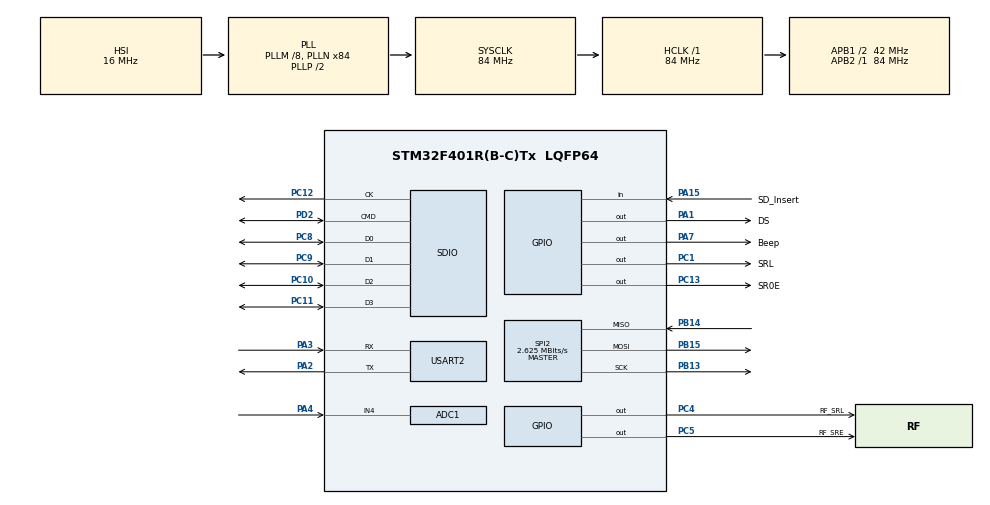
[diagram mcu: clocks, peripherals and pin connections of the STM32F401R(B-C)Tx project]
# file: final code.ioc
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ADC1.Channel-2\#ChannelRegularConversion=ADC_CHANNEL_4
ADC1.NbrOfConversionFlag=1
ADC1.Rank-2\#ChannelRegularConversion=1
ADC1.SamplingTime-2\#ChannelRegularConversion=ADC_SAMPLETIME_3CYCLES
ADC1.master=1
FATFS.BSP.number=1
FATFS._MAX_SS=4096
FATFS._USE_FASTSEEK=0
FATFS0.BSP.STBoard=false
FATFS0.BSP.api=Unknown
FATFS0.BSP.i2caddr=0
FATFS0.BSP.instance=PA15
FATFS0.BSP.ip=GPIO
FATFS0.BSP.mode=Input
FATFS0.BSP.name=Detect_SDIO
FATFS0.BSP.solution=PA15
Mcu.Family=STM32F4
Mcu.Name=STM32F401R(B-C)Tx
Mcu.Package=LQFP64
NVIC.ADC_IRQn=true\:0\:0\:false\:false\:true\:true\:true\:true
NVIC.PriorityGroup=NVIC_PRIORITYGROUP_4
NVIC.TIM3_IRQn=true\:0\:0\:false\:false\:true\:true\:true\:true
NVIC.TIM4_IRQn=true\:0\:0\:false\:false\:true\:true\:true\:true
PA1.GPIO_Label=DS
PA1.Signal=GPIO_Output
PA13.Mode=Trace_Asynchronous_SW
PA13.Signal=SYS_JTMS-SWDIO
PA14.Mode=Trace_Asynchronous_SW
PA14.Signal=SYS_JTCK-SWCLK
PA15.GPIO_Label=SD_Insert
PA15.Signal=GPIO_Input
PA2.Mode=Asynchronous
PA2.Signal=USART2_TX
PA3.Mode=Asynchronous
PA3.Signal=USART2_RX
PA4.Signal=ADCx_IN4
PA7.GPIO_Label=Beep
PA7.Signal=GPIO_Output
PB13.Mode=Full_Duplex_Master
PB13.Signal=SPI2_SCK
PB14.Mode=Full_Duplex_Master
PB14.Signal=SPI2_MISO
PB15.Mode=Full_Duplex_Master
PB15.Signal=SPI2_MOSI
PB3.Mode=Trace_Asynchronous_SW
PB3.Signal=SYS_JTDO-SWO
PC1.GPIO_Label=SRL
PC1.Signal=GPIO_Output
PC10.Mode=SD_4_bits_Wide_bus
PC10.Signal=SDIO_D2
PC11.Mode=SD_4_bits_Wide_bus
PC11.Signal=SDIO_D3
PC12.Mode=SD_4_bits_Wide_bus
PC12.Signal=SDIO_CK
PC13-ANTI_TAMP.GPIO_Label=SR0E
PC13-ANTI_TAMP.Signal=GPIO_Output
PC4.GPIO_Label=RF_SRL
PC4.Signal=GPIO_Output
PC5.GPIO_Label=RF_SRE
PC5.Signal=GPIO_Output
PC8.Mode=SD_4_bits_Wide_bus
PC8.Signal=SDIO_D0
PC9.Mode=SD_4_bits_Wide_bus
PC9.Signal=SDIO_D1
PD2.Mode=SD_4_bits_Wide_bus
PD2.Signal=SDIO_CMD
PH0\ -\ OSC_IN.Mode=HSE-External-Oscillator
PH0\ -\ OSC_IN.Signal=RCC_OSC_IN
PH1\ -\ OSC_OUT.Mode=HSE-External-Oscillator
PH1\ -\ OSC_OUT.Signal=RCC_OSC_OUT
ProjectManager.HeapSize=0x200
ProjectManager.StackSize=0x400
ProjectManager.TargetToolchain=STM32CubeIDE
RCC.48MHZClocksFreq_Value=42000000
RCC.AHBFreq_Value=84000000
RCC.APB1CLKDivider=RCC_HCLK_DIV2
RCC.APB1Freq_Value=42000000
RCC.APB1TimFreq_Value=84000000
RCC.APB2Freq_Value=84000000
RCC.APB2TimFreq_Value=84000000
RCC.CortexFreq_Value=84000000
RCC.HCLKFreq_Value=84000000
RCC.HSE_VALUE=12000000
RCC.HSI_VALUE=16000000
RCC.LSE_VALUE=32768
RCC.PLLM=8
RCC.PLLN=84
RCC.SYSCLKFreq_VALUE=84000000
RCC.SYSCLKSource=RCC_SYSCLKSOURCE_PLLCLK
RCC.VCOOutputFreq_Value=168000000
SDIO.ClockDiv=46
SH.ADCx_IN4.0=ADC1_IN4,IN4
SPI2.BaudRatePrescaler=SPI_BAUDRATEPRESCALER_16
SPI2.CalculateBaudRate=2.625 MBits/s
SPI2.Direction=SPI_DIRECTION_2LINES
SPI2.Mode=SPI_MODE_MASTER
SPI2.VirtualType=VM_MASTER
TIM3.Period=1259
TIM4.Period=999
TIM4.Prescaler=83
USART2.VirtualMode=VM_ASYNC
VP_FATFS_VS_SDIO.Mode=SDIO
VP_TIM3_VS_ClockSourceINT.Mode=Internal
VP_TIM4_VS_ClockSourceINT.Mode=Internal
board=custom

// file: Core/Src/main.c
/* USER CODE BEGIN Header */
/**
  ******************************************************************************
  * @file           : main.c
  * @brief          : Main program body
  ******************************************************************************
  * @attention
  *
  * Copyright (c) 2024 STMicroelectronics.
  * All rights reserved.
  *
  * This software is licensed under terms that can be found in the LICENSE file
  * in the root directory of this software component.
  * If no LICENSE file comes with this software, it is provided AS-IS.
  *
  ******************************************************************************
  */
/* USER CODE END Header */
#include "main.h"
#include "fatfs.h"

/* USER CODE BEGIN Includes */
#include "shiftreg.h"
#include "nrf24l01.h"
#include "nrf_regs.h"
#include "stdio.h"
/* USER CODE END Includes */

/* USER CODE BEGIN PD */
#define debug 1
/* USER CODE END PD */

 ADC_HandleTypeDef hadc1;

SD_HandleTypeDef hsd;

SPI_HandleTypeDef hspi2;

TIM_HandleTypeDef htim3;
TIM_HandleTypeDef htim4;

UART_HandleTypeDef huart2;

/* USER CODE BEGIN PV */

//================================ДАННЫЕ======================================================

//--------------------------------BMP280------------------------------------------------------

 uint8_t data_for_srs[2] = {0b00011111, 0b00000000}; //массив данных для сдвиговых регистров;
 uint8_t bmp_cal_data[24]; //массив данных для колибровочных данных
 uint8_t bmp_raw_data[6]; //массив данных о температуре и давении с BMP280
 uint8_t bmp_prev_status = 0;  //переменная для хранения предыдущего состояния регистра статус датчика bmp.

 unsigned short dig_T1;
 signed short dig_T2;
 signed short dig_T3;
 unsigned short dig_P1;
 signed short dig_P2;
 signed short dig_P3;
 signed short dig_P4;
 signed short dig_P5;
 signed short dig_P6;
 signed short dig_P7;
 signed short dig_P8;
 signed short dig_P9;

 signed long int t_fine = 0;

 //--------------------------------DS18B20-------------------------------------------------------------------

uint32_t milis = 0, micros = 0, milis_delay = 0, micros_delay = 0, milis_d = 0;  //переменные для времени

uint8_t ds_delay_type = 0;  //пусть 0-ой бит - это задержка на 485 мкс, 1-ый бит - на 65 мкс
uint32_t ds_micros=0;
uint32_t ds_wait_temp=0;
int ds_convert_delay = 760;

uint8_t ds_online = 0;

uint8_t ds_started = 0;
float ds_temp=0;
uint8_t ds_data[2];

//-----------------------------------LIS------------------------------------------------
uint8_t lis_raw_data[6];
//-----------------------------------LSM------------------------------------------------
uint8_t data_lsm[14];
int16_t out_data_lsm[6];
float data_lsm_float[6];

//-----------------------------------NRF-------------------------------------------------
uint8_t data_nrf[data_length];

int16_t temp_nrf;
unsigned long int press_nrf;
uint8_t NRF_msg_type = 0;
uint8_t new_data = 0;  // флаг того, что есть новые данные для отправки

//---------------------------карта памяти--------------------------------------------------
FRESULT res;  // FatFs function common result code
uint32_t byteswritten;  ///File write/read counts
FIL MyFile;     //File object

uint8_t sd_data_bmp[4096];
uint8_t sd_data_ds[4096];
uint8_t sd_data_lis[4096];
uint8_t sd_data_lsm[4096];
uint8_t sd_data_adc[4096];

uint sd_pos_bmp = 0;
uint sd_pos_ds = 0;
uint sd_pos_lis = 0;
uint sd_pos_lsm = 0;
uint sd_pos_adc = 0;

//----------------ADC-----------------
uint16_t adc = 0;
uint32_t adc_time = 0;
//--------биппер и фоторезистор----------
uint32_t start_time = 5*60*1000;
uint32_t start_spare_time = 10*60*1000;
uint8_t flag_beep = 0;
uint16_t is_highlighted = 2000;

uint32_t beep_time= 0;

/* USER CODE END PV */

void SystemClock_Config(void);
static void MX_GPIO_Init(void);
static void MX_SPI2_Init(void);
static void MX_TIM3_Init(void);
static void MX_TIM4_Init(void);
static void MX_SDIO_SD_Init(void);
static void MX_ADC1_Init(void);
static void MX_USART2_UART_Init(void);

/* USER CODE BEGIN 0 */
int _write(int file, char *ptr, int len) //переопределение функции вывода информации через порт swo
{
  int i = 0;
  for(i = 0; i < len; i++)
  {
    ITM_SendChar((*ptr++));  //отправка 1-го значения char через swo
  }
  return len;
}

//=============================ФУНКЦ�?�?=======================================================

//-------------------------------BMP---------------------------------------------------------
void bmp_get_call_data()
{
	uint8_t buf = 0x88 | (1 << 7); //адрес регистра с которог начинаем читать данные

	bmp_cs(0); //отключаем ножку CS у BMP для того чтобы сказать, что мы начали общение с BMP

	HAL_SPI_Transmit(&hspi2, &buf, 1, 1000); //отправляем начальный регистор для чтения
	HAL_SPI_Receive(&hspi2, bmp_cal_data, 24, 1000); //считываем 24 байта информациии в массив

	bmp_cs(1); // включаем ножку

	//совмещаем данные
	dig_T1 = ((unsigned short)bmp_cal_data[1]) << 8 | bmp_cal_data[0];
	dig_T2 = ((signed short)bmp_cal_data[3]) << 8 | bmp_cal_data[2];
	dig_T3 = ((signed short)bmp_cal_data[5]) << 8 | bmp_cal_data[4];
	dig_P1 = ((unsigned short)bmp_cal_data[7]) << 8 | bmp_cal_data[6];
	dig_P2 = ((signed short)bmp_cal_data[9]) << 8 | bmp_cal_data[8];
	dig_P3 = ((signed short)bmp_cal_data[11]) << 8 | bmp_cal_data[10];
	dig_P4 = ((signed short)bmp_cal_data[13]) << 8 | bmp_cal_data[12];
	dig_P5 = ((signed short)bmp_cal_data[15]) << 8 | bmp_cal_data[14];
	dig_P6 = ((signed short)bmp_cal_data[17]) << 8 | bmp_cal_data[16];
	dig_P7 = ((signed short)bmp_cal_data[19]) << 8 | bmp_cal_data[18];
	dig_P8 = ((signed short)bmp_cal_data[21]) << 8 | bmp_cal_data[20];
	dig_P9 = ((signed short)bmp_cal_data[23]) << 8 | bmp_cal_data[22];
}

float bmp_get_temp(signed long int adc_T)
{
  signed long var1, var2, T;  //буферные переменные
  float T_back;

  var1 = ((((adc_T>>3) - ((signed long int)dig_T1<<1))) * ((signed long int)dig_T2))>>11;
  var2 = (((((adc_T>>4) - ((signed long int)dig_T1)) * ((adc_T>>4) - ((signed long int)dig_T1))) >> 12) * ((signed long int)dig_T3)) >> 14;
  t_fine = var1 + var2;
  T = (t_fine * 5 + 128) >> 8;

  T_back = T;
  temp_nrf = T;
  T_back = T_back / 100;

  return T_back;
}

unsigned long int bmp_get_press(signed long int adc_P)
{
  signed long long int var1, var2, p;
  var1 = ((signed long long int)t_fine) - 128000;
  var2 = var1 * var1 * (signed long long int)dig_P6;
  var2 = var2 + ((var1*(signed long long int)dig_P5)<<17);
  var2 = var2 + (((signed long long int)dig_P4)<<35);
  var1 = ((var1 * var1 * (signed long long int)dig_P3)>>8) + ((var1 * (signed long long int)dig_P2)<<12);
  var1 = (((((signed long long int)1)<<47)+var1))*((signed long long int)dig_P1)>>33;
  if (var1 == 0)
  {
    return 0; // avoid exception caused by division by zero
  }
  p = 1048576-adc_P;
  p = (((p<<31)-var2)*3125)/var1;
  var1 = (((signed long long int)dig_P9) * (p>>13) * (p>>13)) >> 25;
  var2 = (((signed long long int)dig_P8) * p) >> 19;
  p = ((p + var1 + var2) >> 8) + (((signed long long int)dig_P7)<<4);
  p = p  / 256;

  unsigned long int return_p = (unsigned long int)p;
  press_nrf = return_p;

  return return_p;
}

void bmp_setup()
{
	uint8_t buf = 0xF5 & (~(1 << 7));

	bmp_cs(0); //отключаем ножку CS у BMP для того чтобы сказать, что мы начали общение с BMP
	HAL_SPI_Transmit(&hspi2, &buf, 1, 1000); //отправляем регистор, который пишем

	buf = 0b01000000; //отправляем в регистор, который пишем

	HAL_SPI_Transmit(&hspi2, &buf, 1, 1000);
	bmp_cs(1);
	bmp_cs(0);

	buf = 0xF4 & (~(1 << 7));

	HAL_SPI_Transmit(&hspi2, &buf, 1, 1000);

	buf = 0b10010111;

	HAL_SPI_Transmit(&hspi2, &buf, 1, 1000);
	bmp_cs(1);
}

void bmp_get_data()
{
	uint8_t buf = 0xF3 | (1 << 7); //адрес регистра с которог начинаем читать данные

	bmp_cs(0); //отключаем ножку CS у BMP для того чтобы сказать, что мы начали общение с BMP

	HAL_SPI_Transmit(&hspi2, &buf, 1, 1000); //отправляем начальный регистор для чтения
	HAL_SPI_Receive(&hspi2, &buf, 1, 1000); //считываем 24 байта информациии в массив

	bmp_cs(1); // включаем ножку

	buf = (buf & 0b00001000) >> 3;  //получаем бит, отвечающий за то, идёт ли обработка данных с датчика или нет (бит measuring)

	if((buf == 0)&(bmp_prev_status == 1))  //проверяем бит считанный из регстра статус, что данные сейчас не обрабатываются и проверяем, была ли до этого обработка данных
	{
		bmp_prev_status = buf;
		buf = 0xF7 | (1<<7);
		bmp_cs(0); //отключаем ножку CS у BMP для того чтобы сказать, что мы начали общение с BMP
		HAL_SPI_Transmit(&hspi2, &buf, 1, 1000); //отправляем начальный регистор для чтения
		HAL_SPI_Receive(&hspi2, bmp_raw_data, 6, 1000); //считываем 24 байта информациии в массив
		bmp_cs(1); // включаем ножку

		new_data++;  // говорим, что есть новые данные для отправки

		//карта памяти
		uint32_t buf_milis = milis; //время
		for(int i = 0; i < 4; i++)
		{
			uint8_t buf = buf_milis >> (i*8);
			sd_data_bmp[sd_pos_bmp] = buf;
			sd_pos_bmp++;
		}

		for(int i = 0; i < 6; i++) //данные
		{
			sd_data_bmp[sd_pos_bmp] = bmp_raw_data[i];
			sd_pos_bmp++;
		}

		for (int i = 0; i < 6; ++i)
		{
			sd_data_bmp[sd_pos_bmp] = 0;
			sd_pos_bmp++;
		}

		if(sd_pos_bmp == sizeof(sd_data_bmp)) //запись в файл
		{
			res = f_open(&MyFile, "BMP.hex",FA_WRITE);
			res = f_lseek(&MyFile, f_size(&MyFile));
			res = f_write(&MyFile, sd_data_bmp, sizeof(sd_data_bmp), (void*)&byteswritten);
			res = f_close(&MyFile);
			sd_pos_bmp = 0;
		}

		#ifdef debug
			signed long int raw_press;
			signed long int raw_temp;

			raw_press = ((signed long int)bmp_raw_data[0])<<12 | ((signed long int)bmp_raw_data[1])<<4 | bmp_raw_data[2]>>4;
			raw_temp = ((signed long int)bmp_raw_data[3])<<12 | ((signed long int)bmp_raw_data[4])<<4 | bmp_raw_data[5]>>4;

			float bmp_temp = 0;
			int bmp_press = 0;

			bmp_temp = bmp_get_temp(raw_temp);
			bmp_press = bmp_get_press(raw_press);

			printf("time = %lu, temp = %f, press = %d\n", milis, bmp_temp, bmp_press);
		#endif
	}
	else
	{
		bmp_prev_status = buf;
	}

}

void bmp_calibr()
{
	  uint8_t buf;

	  buf = 0xD0 | (1<<7);

	  bmp_cs(0);

	  HAL_SPI_Transmit(&hspi2, &buf, 1, 1000);
	  HAL_SPI_Receive(&hspi2, &buf, 1, 1000);

	  bmp_cs(1);

	  printf("ID = %x = %d\n", buf, buf);

	  bmp_get_call_data();

	  for(int i = 0; i < 24; ++i)
	  {
		  printf("cal[%d] = %x\n", i, bmp_cal_data[i]);
	  }

	  printf("dig_T1 = %x\n", dig_T1);
	  printf("dig_T2 = %x\n", dig_T2);
	  printf("dig_T3 = %x\n", dig_T3);
	  printf("dig_P1 = %x\n", dig_P1);
	  printf("dig_P2 = %x\n", dig_P2);
	  printf("dig_P3 = %x\n", dig_P3);
	  printf("dig_P4 = %x\n", dig_P4);
	  printf("dig_P5 = %x\n", dig_P5);
	  printf("dig_P6 = %x\n", dig_P6);
	  printf("dig_P7 = %x\n", dig_P7);
	  printf("dig_P8 = %x\n", dig_P8);
	  printf("dig_P9 = %x\n", dig_P9);

	  bmp_setup();
}
//-----------------------------DS18B20------------------------------------------------------
void HAL_TIM_PeriodElapsedCallback(TIM_HandleTypeDef *htim)  //вектор прерываний для таймеров
{
  if(htim->Instance == TIM3) //check if the interrupt comes from TIM3
    {
      micros += 15;
    }
  if(htim->Instance == TIM4) //check if the interrupt comes from TIM4 (если прерывание пришло от 4таймера)
    {
      milis++;
    }
}

static void DS_INIT(int a)  //переинициализация пина протокола 1-WIRE
  {
    GPIO_InitTypeDef GPIO_InitStruct = {0};

    /* GPIO Ports Clock Enable */
    __HAL_RCC_GPIOH_CLK_ENABLE();
    __HAL_RCC_GPIOA_CLK_ENABLE();
    __HAL_RCC_GPIOB_CLK_ENABLE();

    /*Configure GPIO pin : DS_Pin */
    GPIO_InitStruct.Pin = DS_Pin;
    if(a == 0)
     GPIO_InitStruct.Mode = GPIO_MODE_INPUT; //перестраивается в режим входа
    else
     {
     GPIO_InitStruct.Mode = GPIO_MODE_OUTPUT_PP;
     GPIO_InitStruct.Speed = GPIO_SPEED_FREQ_LOW;
     }
    GPIO_InitStruct.Pull = GPIO_NOPULL;
    HAL_GPIO_Init(DS_GPIO_Port, &GPIO_InitStruct);

  }

uint8_t DS_find()  //поиск датчика на шине 1-WIRE
{
	uint8_t buf = 0;
	DS_INIT(1);
	HAL_GPIO_WritePin(DS_GPIO_Port, DS_Pin, 0);
	ds_micros = micros + 480;
	while( ds_micros > micros);
	DS_INIT(0);

	ds_micros = micros + 60;
	while( ds_micros > micros );
	buf = HAL_GPIO_ReadPin(DS_GPIO_Port, DS_Pin);

	ds_micros = micros + 420;
	while( ds_micros > micros);

	if(buf == 0)
		return 1;
	else
		return 0;

}

 void DS_send(uint8_t data)  //отправка байта данных по 1-WIRE
 {
   for(int i = 0; i < 8; i++)
   {
	   if( (data & (1<<i)) == (1<<i) )
	   {
		   DS_INIT(1);
		   HAL_GPIO_WritePin(DS_GPIO_Port, DS_Pin, 0);
		   HAL_GPIO_WritePin(DS_GPIO_Port, DS_Pin, 0);
		   HAL_GPIO_WritePin(DS_GPIO_Port, DS_Pin, 0);
		   HAL_GPIO_WritePin(DS_GPIO_Port, DS_Pin, 0);
		   HAL_GPIO_WritePin(DS_GPIO_Port, DS_Pin, 0);
		   DS_INIT(0);

		   ds_micros = micros + 65;
		   while( ds_micros > micros );
	   }
	   else
	   {
		   DS_INIT(1);
		   HAL_GPIO_WritePin(DS_GPIO_Port, DS_Pin, 0);

		   ds_micros = micros + 65;
		   while( ds_micros > micros);

		   DS_INIT(0);
	   }
   }
 }

uint8_t DS_read()  //чтение байта данных с 1-WIRE
{
   uint8_t data = 0;
   for(int i = 0; i < 8; i++)
   {
		DS_INIT(1);
		HAL_GPIO_WritePin(DS_GPIO_Port, DS_Pin, 0);
		HAL_GPIO_WritePin(DS_GPIO_Port, DS_Pin, 0);
		HAL_GPIO_WritePin(DS_GPIO_Port, DS_Pin, 0);
		HAL_GPIO_WritePin(DS_GPIO_Port, DS_Pin, 0);
		DS_INIT(0);

		ds_micros = micros + 15;
		while( ds_micros > micros );
		if(HAL_GPIO_ReadPin(DS_GPIO_Port, DS_Pin) ==  0)
			data &= ~(1<<i);
		else
			data |= (1<<i);
   }
   return data;
}

 float DS_get_data()  //получение данных о температуре с датчика DS18B20
 {
	float temp = 0;
	HAL_TIM_Base_Start_IT(&htim3);  //запускаем таймер для микросекунд

	if(ds_started == 0)
	{
		if(DS_find() == 1)
		{
			DS_send(0xcc);
			DS_send(0x44);
			ds_started = 1;
			ds_wait_temp = milis + ds_convert_delay;
		}
	}
	else if (ds_wait_temp <= milis)
	{
		if(DS_find() == 1)
		{
			DS_send(0xcc);
			DS_send(0xbe);
			ds_data[0] = DS_read();
			ds_data[1] = DS_read();
			HAL_TIM_Base_Stop_IT(&htim3);

			new_data++;  // говорим, что есть новые данные для отправки

			//карта памяти
			uint32_t buf_milis = milis; //время
			for(int i = 0; i < 4; i++)
			{
				uint8_t buf = buf_milis >> (i*8);
				sd_data_ds[sd_pos_ds] = buf;
				sd_pos_ds++;
			}

			for(int i = 0; i < 2; i++) //данные
			{
				sd_data_ds[sd_pos_ds] = ds_data[i];
				sd_pos_ds++;
			}

			for(int i = 0; i < 2; i++) //доп данные
			{
				sd_data_ds[sd_pos_ds] = 0;
				sd_pos_ds++;
			}

			if(sd_pos_ds == sizeof(sd_data_ds)) //запись в файл
			{
				res = f_open(&MyFile, "DS.hex",FA_WRITE);
				res = f_lseek(&MyFile, f_size(&MyFile));
				res = f_write(&MyFile, sd_data_ds, sizeof(sd_data_ds), (void*)&byteswritten);
				res = f_close(&MyFile);
				sd_pos_ds = 0;
			}

			#ifdef debug
				uint16_t buf_ds=0;
				buf_ds = (ds_data[1]<<8) | ds_data[0];

				temp = (buf_ds>>4)&0b01111111;
				temp += 0.5*((buf_ds>>3)&0x01);
				temp += 0.25*((buf_ds>>2)&0x01);
				temp += 0.125*((buf_ds>>1)&0x01);
				temp += 0.0625*(buf_ds&0x01);
				if (((buf_ds>>15)&0x01) > 0)
					temp = temp * (-1);
			#endif

			ds_started = 0;
		}
	}

	HAL_TIM_Base_Stop_IT(&htim3);
	return temp;
}

  void DS_init(uint8_t res)  //инициализация датчика DS18B20
  {
   /*
    * Данная функция нужна для настройки датчика ds18b20
    * В данню функцию передаётся значение разрешения температуры
    * 0 - 9 бит
    * 1 - 10 бит
    * 2 - 11 бит
    * остальные - 12 бит
  */
   HAL_TIM_Base_Start_IT(&htim3);

   if(DS_find())
   {
    DS_send(0xcc);
    DS_send(0x4E);
    DS_send(0xff);
    DS_send(0x00);

    switch(res)
    {
    case 0:
    {
     DS_send(0b00011111);
     ds_convert_delay = 100;
     break;
    }
    case 1:
    {
     DS_send(0b00111111);
     ds_convert_delay = 200;
     break;
    }
    case 2:
    {
     DS_send(0b01011111);
     ds_convert_delay = 400;
     break;
    }
    default:
     DS_send(0b01111111);
     ds_convert_delay = 800;
    }
   }
   HAL_TIM_Base_Stop_IT(&htim3);

  }

//-----------------------------LIS------------------------------------------
void lis_init()
   {
     // настройка lis3mdl. Особенность в том, что надо сразу все настройки загружать в память датчика, иначе работать не будет. Почему такое происходит неизвестно
     uint8_t lis_config[6]={(0x20|0b01000000),0b01111100,0b01100000,0b00000000,0b00001100,0b01000000};
     lis3mdl_cs(0);
     HAL_SPI_Transmit(&hspi2, (uint8_t *)lis_config,6,5000);
     lis3mdl_cs(1);
   }

void lis_get_data()
{
	uint8_t buf;

	buf = (0x27) | 0b11000000;
	lis3mdl_cs(0);
	HAL_SPI_Transmit(&hspi2, &buf, 1, 500);
	HAL_SPI_Receive(&hspi2, &buf, 1, 500);
	lis3mdl_cs(1);

	buf = buf & 0x0f;

	if(buf == 15)
	{

		lis3mdl_cs(0);
		buf = (0x28) | 0b11000000;
		HAL_SPI_Transmit(&hspi2, &buf, 1, 500);
		HAL_SPI_Receive(&hspi2, lis_raw_data, 6, 500);  //читывание данных с датчика
		lis3mdl_cs(1);
		new_data++;  // говорим, что есть новые данные для отправки
#ifdef debug
		int16_t lis_data[3];
		float lis_data_float[3];
		for(int i=0; i<3; i++)  //преобразование данных с датчика и вывод
		{
		  lis_data[i] = lis_raw_data[i*2+1];
		  lis_data[i] = lis_data[i]<<8 | lis_raw_data[i*2];
		  lis_data_float[i] = (float)lis_data[i]/1711.0;
//		  printf("%d, ", lis_data[i]);
		}
//		printf("\n");

		printf("time = %lu, Mag X = %f, Mag Y = %f, Mag Z = %f\n",milis, lis_data_float[0],lis_data_float[1],lis_data_float[2]);
#endif
	//карта памяти
	uint32_t buf_milis = milis; //время
	for(int i = 0; i < 4; i++)
	{
		uint8_t buf = buf_milis >> (i*8);
		sd_data_lis[sd_pos_lis] = buf;
		sd_pos_lis++;
	}

	for(int i = 0; i < 6; i++) //данные
	{
		sd_data_lis[sd_pos_lis] = lis_raw_data[i];
		sd_pos_lis++;
	}

	for(int i = 0; i < 6; i++) //данные
	{
		sd_data_lis[sd_pos_lis] = 0;
		sd_pos_lis++;
	}

	if(sd_pos_lis == sizeof(sd_data_lis)) //запись в файл
	{
		res = f_open(&MyFile, "LIS.hex",FA_WRITE);
		res = f_lseek(&MyFile, f_size(&MyFile));
		res = f_write(&MyFile, sd_data_lis, sizeof(sd_data_lis), (void*)&byteswritten);
		res = f_close(&MyFile);
		sd_pos_lis = 0;
	}
	}

}

 //----------------------------LSM-------------------------------------------
void lsm_init() //настройка
{
	uint8_t buf;

	lsm6ds_cs(0);
	buf = 0x10;
	HAL_SPI_Transmit(&hspi2, &buf, 1, 500);
	buf = 0b01000100;
	HAL_SPI_Transmit(&hspi2, &buf, 1, 500);
	lsm6ds_cs(1);

	lsm6ds_cs(0);
	buf = 0x11;
	HAL_SPI_Transmit(&hspi2, &buf, 1, 500);
	buf = 0b01001100;
	HAL_SPI_Transmit(&hspi2, &buf, 1, 500);
	lsm6ds_cs(1);

	lsm6ds_cs(0);
	buf = 0x12;
	HAL_SPI_Transmit(&hspi2, &buf, 1, 500);
	buf = 0b01000100;
	HAL_SPI_Transmit(&hspi2, &buf, 1, 500);
	lsm6ds_cs(1);

	lsm6ds_cs(0);
	buf = 0x13;
	HAL_SPI_Transmit(&hspi2, &buf, 1, 500);
	buf = 0b00000100;
	HAL_SPI_Transmit(&hspi2, &buf, 1, 500);
	lsm6ds_cs(1);

	lsm6ds_cs(0);
	buf = 0x14;
	HAL_SPI_Transmit(&hspi2, &buf, 1, 500);
	buf = 0b00000000;
	HAL_SPI_Transmit(&hspi2, &buf, 1, 500);
	lsm6ds_cs(1);

}

void lsm_get_data()
{
	uint8_t buf;
	buf = 0x1E | 0b10000000;

	lsm6ds_cs(0);
	HAL_SPI_Transmit(&hspi2, &buf, 1, 500);
	HAL_SPI_Receive(&hspi2, &buf, 1, 500);
	lsm6ds_cs(1);
	buf = buf & 0b00000011;  //вычленяем только 2 последних бита

	if(buf > 0)
	{
		  buf = 0x22 | 0b10000000;
		  lsm6ds_cs(0);
		  HAL_SPI_Transmit(&hspi2, &buf, 1, 500);
		  HAL_SPI_Receive(&hspi2, &data_lsm[0], 12, 500);
		  lsm6ds_cs(1);

		  new_data++;  // говорим, что есть новые данные для отправки

		  //карта памяти
		  	uint32_t buf_milis = milis; //время
		  	for(int i = 0; i < 4; i++)
		  	{
		  		uint8_t buf = buf_milis >> (i*8);
		  		sd_data_lsm[sd_pos_lsm] = buf;
		  		sd_pos_lsm++;
		  	}

		  	for(int i = 0; i < 12; i++) //данные
		  	{
		  		sd_data_lsm[sd_pos_lsm] = data_lsm[i];
		  		sd_pos_lsm++;
		  	}

		  	if(sd_pos_lsm == sizeof(sd_data_lsm)) //запись в файл
		  	{
		  		res = f_open(&MyFile, "LSM.hex",FA_WRITE);
		  		res = f_lseek(&MyFile, f_size(&MyFile));
		  		res = f_write(&MyFile, sd_data_lsm, sizeof(sd_data_lsm), (void*)&byteswritten);
		  		res = f_close(&MyFile);
		  		sd_pos_lsm = 0;
		  	}

			#ifdef debug
				  for(int i=0; i<6; i++)
				  {
					  out_data_lsm[i] = data_lsm[i*2+1];
					  out_data_lsm[i] = out_data_lsm[i]<<8 | data_lsm[i*2];
			//		  printf("%d, ", out_data_lsm[i]);
				  }
			//	  printf("\n");

				  for(int i=0; i<3; i++)
				  {
					  data_lsm_float[i] = (float)out_data_lsm[i]/32768.0*2000.0;
				  }
				  for(int i=3; i<6; i++)
				  {
					  data_lsm_float[i] = (float)out_data_lsm[i]/32768.0*16.0;
				  }

				  printf("time = %lu, GX = %f, GY = %f, GZ = %f, AX = %f, AY = %f, AZ = %f\n",milis, data_lsm_float[0],data_lsm_float[1],data_lsm_float[2],data_lsm_float[3],data_lsm_float[4],data_lsm_float[5]);
			#endif
	}

}

//-----------------------------NRF----------------------------------------
void nrf_identifier()  //функция для настройки заголовка пакета данных для отправки
{
  // задаём заголовок начала пакета
	data_nrf[0] = 0xA4;
	data_nrf[1] = 0xB3;
  // задаём идентификатор команды
	data_nrf[2] = 0xBB;
	data_nrf[3] = 0xBB;
}

void nrf_time()  //записываем время в пакет данных
{
  uint32_t local_milis = milis;  //для того, чтобы избежать проблем с внезапной сменой времени во время записи, делаем локальную переменную и работаем с ней

  data_nrf[4] = local_milis & 0xff;
  data_nrf[5] = (local_milis >> 8) & 0xff;
  data_nrf[6] = (local_milis >> 16) & 0xff;
  data_nrf[7] = (local_milis >> 24) & 0xff;
}

void nrf_bmp() //данные c bmp
{
	data_nrf[8] = temp_nrf & 0xFF;
	data_nrf[9] = (temp_nrf >> 8) & 0xFF;

	data_nrf[10] = press_nrf & 0xFF;
	data_nrf[11] = (press_nrf >> 8) & 0xFF;
	data_nrf[12] = (press_nrf >> 16) & 0xFF;
	data_nrf[13] = (press_nrf >> 24) & 0xFF;
}

void nrf_aks() //данные от акселерометра
{
	for (int i = 14; i <= 19; ++i)
	{
		data_nrf[i] = data_lsm[i - 8];
	}
}

void nrf_gyr() //данные от гирокопа
{
	for (int i = 23; i <= 28; ++i)
	{
		data_nrf[i] = data_lsm[i - 23];
	}
}

void nrf_lis() //данные от магнитометра
{
	for (int i = 23; i <= 28; ++i)
	{
		data_nrf[i] = lis_raw_data[i - 23];
	}
}

void nrf_check_sum() //функция для расчёта контрольной суммы
{
	data_nrf[20] = data_nrf[0]; //задаём начальное значение контрольной суммы
	for (int i = 1; i < 20; ++i) //цикл для выполнения логической операции "исключающее �?Л�?" из всех байт информации
	{
		data_nrf[20] ^= data_nrf[i];
	}
}

void nrf_transmit()  //функция для подготовки данных к отправке и сама отправка данных
{
  nrf_identifier();
  nrf_time();
  nrf_bmp();
  nrf_aks();

  nrf_check_sum();  //считаем контрольную сумму

  // Записываем данные о температуре с DS18B20 вне зависимости от того, было считывание температуры с него или нет
  data_nrf[21] = ds_data[1] & 0x0f;  // Первым пишем старший байт с DS, т.к. в нём мы можем взять 4 старших бита под служебную инфу
  data_nrf[22] = ds_data[0];

  if (adc >= is_highlighted)
  {
	  data_nrf[21] = data_nrf[21] | 0b01000000; //фоторезистор засвечен
  }
  else
  {
	   data_nrf[21] = data_nrf[21] & 0b10111111; //фоторезистор НЕ засвечен
  }

  if(NRF_msg_type)  //Проверяем на тип сообщения, если тип сообщения 1, то отправляем в конце пакета магнитометр
  {
    data_nrf[21] = data_nrf[21] | 0b10000000;  // выставляем тип сообщения в старший бит 21-го элемента массива

    // Записываем данные от магнитометра
    nrf_lis();

    NRF_msg_type = 0;  //меняем для следующей отправки тип сообщения
  }
  else  // Если тип сообщения 0, то отправляем гироскоп
  {
    data_nrf[21] = data_nrf[21] & 0b01111111;  // выставляем тип сообщения в старший бит 21-го элемента массива

    // Записываем данные от гироскопа
    nrf_gyr();

    NRF_msg_type = 1;  //меняем для следующей отправки тип сообщения
  }
  if (new_data > 0)
  {
	  NRF_Send_data(data_nrf,data_length);  //передаём данные в NRF для отправки
	  HAL_UART_Transmit(&huart2, data_nrf, data_length, 500);
  }
}

//-------------------------ADC------------------------------------------
void HAL_ADC_ConvCpltCallback(ADC_HandleTypeDef* hadc)
{
    if(hadc->Instance == ADC1) //check if the interrupt comes from ACD1
    {
        adc = HAL_ADC_GetValue(&hadc1);
    }
}

void sd_adc()
{
	uint32_t buf_milis = milis; //время
	for(int i = 0; i < 4; ++i)
	{
		uint8_t buf = buf_milis >> (i*8);
		sd_data_adc[sd_pos_adc] = buf;
		sd_pos_adc++;
	}

	if (milis > adc_time)
	{
		adc_time = milis + 100;

		sd_data_adc[sd_pos_adc] = adc;
		sd_pos_adc++;
		sd_data_adc[sd_pos_adc] = (adc >> 8);
		sd_pos_adc++;

		sd_data_adc[sd_pos_adc] = 0;
		sd_pos_adc++;
		sd_data_adc[sd_pos_adc] = 0;
		sd_pos_adc++;

		if(sd_pos_adc == sizeof(sd_data_adc)) //запись в файл
		{
		    res = f_open(&MyFile, "ADC.hex",FA_WRITE);
		    res = f_lseek(&MyFile, f_size(&MyFile));
		    res = f_write(&MyFile, sd_data_adc, sizeof(sd_data_adc), (void*)&byteswritten);
		    res = f_close(&MyFile);
		    sd_pos_adc = 0;
		}
	}
}

void beeper()
{
	if (((milis >= start_time) & (adc >= is_highlighted)) | (milis >= start_spare_time))
	{
		flag_beep = 1;
	}

	if ((flag_beep == 1) & (milis > beep_time))
	{
		beep_time = milis + 500;
		HAL_GPIO_TogglePin(Beep_GPIO_Port, Beep_Pin);
	}
}

/* USER CODE END 0 */

int main(void)
{

  /* MCU Configuration--------------------------------------------------------*/

  /* Reset of all peripherals, Initializes the Flash interface and the Systick. */
  HAL_Init();

  /* Configure the system clock */
  SystemClock_Config();

  /* Initialize all configured peripherals */
  MX_GPIO_Init();
  MX_SPI2_Init();
  MX_TIM3_Init();
  MX_TIM4_Init();
  MX_SDIO_SD_Init();
  MX_FATFS_Init();
  MX_ADC1_Init();
  MX_USART2_UART_Init();
  /* USER CODE BEGIN 2 */

  HAL_TIM_Base_Start_IT(&htim4);  //стартуем таймер 4 для милисекунд

  ShiftRegs_init();

//------------------карта памяти-------------
    res = disk_initialize(0);
    res = f_mount(&SDFatFS, (TCHAR const*)SDPath, 1);

    res = f_open(&MyFile, "BMP.hex",FA_CREATE_NEW | FA_WRITE);
    res = f_close(&MyFile);

    res = f_open(&MyFile, "LIS.hex",FA_CREATE_NEW | FA_WRITE);
    res = f_close(&MyFile);

    res = f_open(&MyFile, "LSM.hex",FA_CREATE_NEW | FA_WRITE);
    res = f_close(&MyFile);

    res = f_open(&MyFile, "DS.hex",FA_CREATE_NEW | FA_WRITE);
    res = f_close(&MyFile);

    res = f_open(&MyFile, "ADC.hex",FA_CREATE_NEW | FA_WRITE);
    res = f_close(&MyFile);

//--------------NRF-------------------
  NRF_Init();
  NRF_Set_TX();
//-------------BMP280-----------------
  bmp_calibr();
//--------------LIS------------------
  lis_init();
//--------------LSM------------------
  lsm_init();
//------------DS18B20----------------
  DS_init(4);

//--------------ADC------------------
  HAL_ADC_Start_IT(&hadc1);

  /* USER CODE END 2 */

  /* Infinite loop */
  /* USER CODE BEGIN WHILE */
  while (1)
  {
	  ds_temp = DS_get_data();
	  bmp_get_data();
  	  lis_get_data();
  	  lsm_get_data();

  	  nrf_transmit();

  	  sd_adc();
  	  beeper();
	  HAL_ADC_Start_IT(&hadc1);
  	  //printf("adc = %d\n",adc);

    /* USER CODE END WHILE */

  }
}

void SystemClock_Config(void)
{
  RCC_OscInitTypeDef RCC_OscInitStruct = {0};
  RCC_ClkInitTypeDef RCC_ClkInitStruct = {0};

  /** Configure the main internal regulator output voltage
  */
  __HAL_RCC_PWR_CLK_ENABLE();
  __HAL_PWR_VOLTAGESCALING_CONFIG(PWR_REGULATOR_VOLTAGE_SCALE2);

  /** Initializes the RCC Oscillators according to the specified parameters
  * in the RCC_OscInitTypeDef structure.
  */
  RCC_OscInitStruct.OscillatorType = RCC_OSCILLATORTYPE_HSI;
  RCC_OscInitStruct.HSIState = RCC_HSI_ON;
  RCC_OscInitStruct.HSICalibrationValue = RCC_HSICALIBRATION_DEFAULT;
  RCC_OscInitStruct.PLL.PLLState = RCC_PLL_ON;
  RCC_OscInitStruct.PLL.PLLSource = RCC_PLLSOURCE_HSI;
  RCC_OscInitStruct.PLL.PLLM = 8;
  RCC_OscInitStruct.PLL.PLLN = 84;
  RCC_OscInitStruct.PLL.PLLP = RCC_PLLP_DIV2;
  RCC_OscInitStruct.PLL.PLLQ = 4;
  if (HAL_RCC_OscConfig(&RCC_OscInitStruct) != HAL_OK)
  {
    Error_Handler();
  }

  /** Initializes the CPU, AHB and APB buses clocks
  */
  RCC_ClkInitStruct.ClockType = RCC_CLOCKTYPE_HCLK|RCC_CLOCKTYPE_SYSCLK
                              |RCC_CLOCKTYPE_PCLK1|RCC_CLOCKTYPE_PCLK2;
  RCC_ClkInitStruct.SYSCLKSource = RCC_SYSCLKSOURCE_PLLCLK;
  RCC_ClkInitStruct.AHBCLKDivider = RCC_SYSCLK_DIV1;
  RCC_ClkInitStruct.APB1CLKDivider = RCC_HCLK_DIV2;
  RCC_ClkInitStruct.APB2CLKDivider = RCC_HCLK_DIV1;

  if (HAL_RCC_ClockConfig(&RCC_ClkInitStruct, FLASH_LATENCY_2) != HAL_OK)
  {
    Error_Handler();
  }
}

static void MX_ADC1_Init(void)
{

  ADC_ChannelConfTypeDef sConfig = {0};

  /** Configure the global features of the ADC (Clock, Resolution, Data Alignment and number of conversion)
  */
  hadc1.Instance = ADC1;
  hadc1.Init.ClockPrescaler = ADC_CLOCK_SYNC_PCLK_DIV4;
  hadc1.Init.Resolution = ADC_RESOLUTION_12B;
  hadc1.Init.ScanConvMode = DISABLE;
  hadc1.Init.ContinuousConvMode = DISABLE;
  hadc1.Init.DiscontinuousConvMode = DISABLE;
  hadc1.Init.ExternalTrigConvEdge = ADC_EXTERNALTRIGCONVEDGE_NONE;
  hadc1.Init.ExternalTrigConv = ADC_SOFTWARE_START;
  hadc1.Init.DataAlign = ADC_DATAALIGN_RIGHT;
  hadc1.Init.NbrOfConversion = 1;
  hadc1.Init.DMAContinuousRequests = DISABLE;
  hadc1.Init.EOCSelection = ADC_EOC_SINGLE_CONV;
  if (HAL_ADC_Init(&hadc1) != HAL_OK)
  {
    Error_Handler();
  }

  /** Configure for the selected ADC regular channel its corresponding rank in the sequencer and its sample time.
  */
  sConfig.Channel = ADC_CHANNEL_4;
  sConfig.Rank = 1;
  sConfig.SamplingTime = ADC_SAMPLETIME_3CYCLES;
  if (HAL_ADC_ConfigChannel(&hadc1, &sConfig) != HAL_OK)
  {
    Error_Handler();
  }

}

static void MX_SDIO_SD_Init(void)
{

  hsd.Instance = SDIO;
  hsd.Init.ClockEdge = SDIO_CLOCK_EDGE_RISING;
  hsd.Init.ClockBypass = SDIO_CLOCK_BYPASS_DISABLE;
  hsd.Init.ClockPowerSave = SDIO_CLOCK_POWER_SAVE_DISABLE;
  hsd.Init.BusWide = SDIO_BUS_WIDE_1B;
  hsd.Init.HardwareFlowControl = SDIO_HARDWARE_FLOW_CONTROL_DISABLE;
  hsd.Init.ClockDiv = 46;

}

static void MX_SPI2_Init(void)
{

  /* SPI2 parameter configuration*/
  hspi2.Instance = SPI2;
  hspi2.Init.Mode = SPI_MODE_MASTER;
  hspi2.Init.Direction = SPI_DIRECTION_2LINES;
  hspi2.Init.DataSize = SPI_DATASIZE_8BIT;
  hspi2.Init.CLKPolarity = SPI_POLARITY_LOW;
  hspi2.Init.CLKPhase = SPI_PHASE_1EDGE;
  hspi2.Init.NSS = SPI_NSS_SOFT;
  hspi2.Init.BaudRatePrescaler = SPI_BAUDRATEPRESCALER_16;
  hspi2.Init.FirstBit = SPI_FIRSTBIT_MSB;
  hspi2.Init.TIMode = SPI_TIMODE_DISABLE;
  hspi2.Init.CRCCalculation = SPI_CRCCALCULATION_DISABLE;
  hspi2.Init.CRCPolynomial = 10;
  if (HAL_SPI_Init(&hspi2) != HAL_OK)
  {
    Error_Handler();
  }

}

static void MX_TIM3_Init(void)
{

  TIM_ClockConfigTypeDef sClockSourceConfig = {0};
  TIM_MasterConfigTypeDef sMasterConfig = {0};

  htim3.Instance = TIM3;
  htim3.Init.Prescaler = 0;
  htim3.Init.CounterMode = TIM_COUNTERMODE_UP;
  htim3.Init.Period = 1259;
  htim3.Init.ClockDivision = TIM_CLOCKDIVISION_DIV1;
  htim3.Init.AutoReloadPreload = TIM_AUTORELOAD_PRELOAD_DISABLE;
  if (HAL_TIM_Base_Init(&htim3) != HAL_OK)
  {
    Error_Handler();
  }
  sClockSourceConfig.ClockSource = TIM_CLOCKSOURCE_INTERNAL;
  if (HAL_TIM_ConfigClockSource(&htim3, &sClockSourceConfig) != HAL_OK)
  {
    Error_Handler();
  }
  sMasterConfig.MasterOutputTrigger = TIM_TRGO_RESET;
  sMasterConfig.MasterSlaveMode = TIM_MASTERSLAVEMODE_DISABLE;
  if (HAL_TIMEx_MasterConfigSynchronization(&htim3, &sMasterConfig) != HAL_OK)
  {
    Error_Handler();
  }

}

static void MX_TIM4_Init(void)
{

  TIM_ClockConfigTypeDef sClockSourceConfig = {0};
  TIM_MasterConfigTypeDef sMasterConfig = {0};

  htim4.Instance = TIM4;
  htim4.Init.Prescaler = 83;
  htim4.Init.CounterMode = TIM_COUNTERMODE_UP;
  htim4.Init.Period = 999;
  htim4.Init.ClockDivision = TIM_CLOCKDIVISION_DIV1;
  htim4.Init.AutoReloadPreload = TIM_AUTORELOAD_PRELOAD_DISABLE;
  if (HAL_TIM_Base_Init(&htim4) != HAL_OK)
  {
    Error_Handler();
  }
  sClockSourceConfig.ClockSource = TIM_CLOCKSOURCE_INTERNAL;
  if (HAL_TIM_ConfigClockSource(&htim4, &sClockSourceConfig) != HAL_OK)
  {
    Error_Handler();
  }
  sMasterConfig.MasterOutputTrigger = TIM_TRGO_RESET;
  sMasterConfig.MasterSlaveMode = TIM_MASTERSLAVEMODE_DISABLE;
  if (HAL_TIMEx_MasterConfigSynchronization(&htim4, &sMasterConfig) != HAL_OK)
  {
    Error_Handler();
  }

}

static void MX_USART2_UART_Init(void)
{

  huart2.Instance = USART2;
  huart2.Init.BaudRate = 115200;
  huart2.Init.WordLength = UART_WORDLENGTH_8B;
  huart2.Init.StopBits = UART_STOPBITS_1;
  huart2.Init.Parity = UART_PARITY_NONE;
  huart2.Init.Mode = UART_MODE_TX_RX;
  huart2.Init.HwFlowCtl = UART_HWCONTROL_NONE;
  huart2.Init.OverSampling = UART_OVERSAMPLING_16;
  if (HAL_UART_Init(&huart2) != HAL_OK)
  {
    Error_Handler();
  }

}

static void MX_GPIO_Init(void)
{
  GPIO_InitTypeDef GPIO_InitStruct = {0};

  /* GPIO Ports Clock Enable */
  __HAL_RCC_GPIOC_CLK_ENABLE();
  __HAL_RCC_GPIOH_CLK_ENABLE();
  __HAL_RCC_GPIOA_CLK_ENABLE();
  __HAL_RCC_GPIOB_CLK_ENABLE();
  __HAL_RCC_GPIOD_CLK_ENABLE();

  /*Configure GPIO pin Output Level */
  HAL_GPIO_WritePin(GPIOC, SR0E_Pin|SRL_Pin|RF_SRL_Pin|RF_SRE_Pin, GPIO_PIN_RESET);

  /*Configure GPIO pin Output Level */
  HAL_GPIO_WritePin(GPIOA, DS_Pin|Beep_Pin, GPIO_PIN_RESET);

  /*Configure GPIO pins : SR0E_Pin SRL_Pin RF_SRL_Pin RF_SRE_Pin */
  GPIO_InitStruct.Pin = SR0E_Pin|SRL_Pin|RF_SRL_Pin|RF_SRE_Pin;
  GPIO_InitStruct.Mode = GPIO_MODE_OUTPUT_PP;
  GPIO_InitStruct.Pull = GPIO_NOPULL;
  GPIO_InitStruct.Speed = GPIO_SPEED_FREQ_LOW;
  HAL_GPIO_Init(GPIOC, &GPIO_InitStruct);

  /*Configure GPIO pins : DS_Pin Beep_Pin */
  GPIO_InitStruct.Pin = DS_Pin|Beep_Pin;
  GPIO_InitStruct.Mode = GPIO_MODE_OUTPUT_PP;
  GPIO_InitStruct.Pull = GPIO_NOPULL;
  GPIO_InitStruct.Speed = GPIO_SPEED_FREQ_LOW;
  HAL_GPIO_Init(GPIOA, &GPIO_InitStruct);

  /*Configure GPIO pin : SD_Insert_Pin */
  GPIO_InitStruct.Pin = SD_Insert_Pin;
  GPIO_InitStruct.Mode = GPIO_MODE_INPUT;
  GPIO_InitStruct.Pull = GPIO_NOPULL;
  HAL_GPIO_Init(SD_Insert_GPIO_Port, &GPIO_InitStruct);

}

void Error_Handler(void)
{
  __disable_irq();
  while (1)
  {
  }
}
